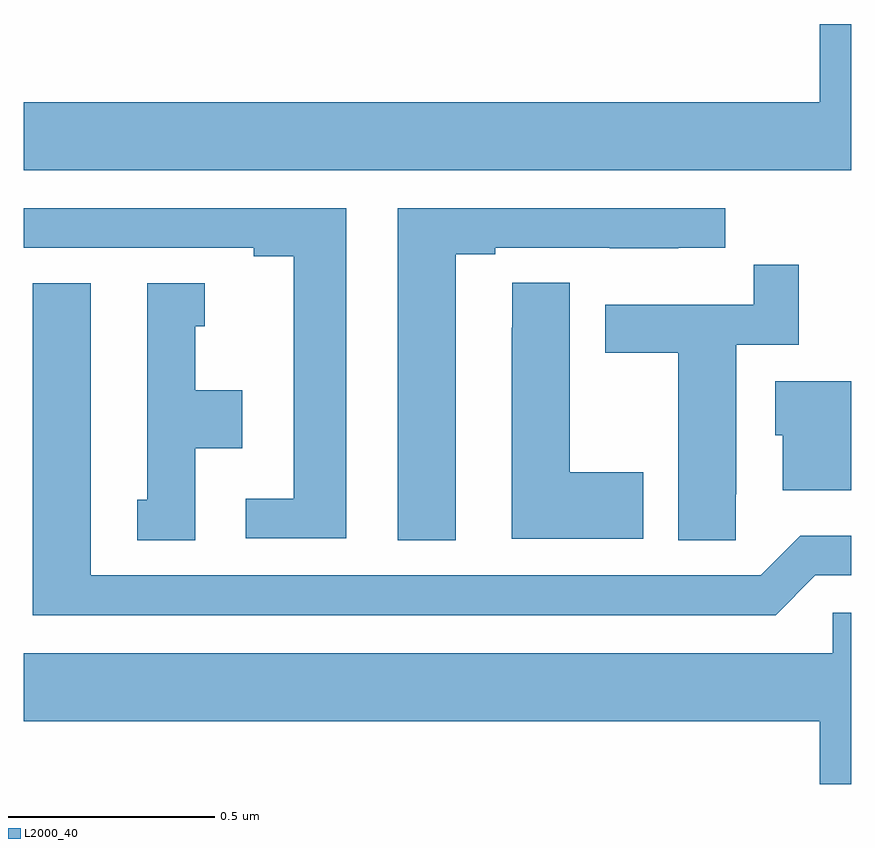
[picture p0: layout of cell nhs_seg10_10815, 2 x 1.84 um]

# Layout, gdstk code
import gdstk
lib = gdstk.Library(unit=1e-6, precision=1e-09)
def P(c, l, *ps):  # polygons
    for p in ps: c.add(gdstk.Polygon(p, *l))
L2000_40 = (2000, 40)

nhs_seg10_10815 = lib.new_cell('nhs_seg10_10815')
P(nhs_seg10_10815, L2000_40, [(249,1299.337),(248.924,1299.337),(248.924,1299.148),(247,1299.148),(247,1298.984),(249,1298.984)],
  [(248.044,1298.781),(248.14,1298.781),(248.14,1298.796),(248.416,1298.796),(248.416,1298.795),(248.582,1298.795),(248.582,1298.796),(248.695,1298.796),(248.695,1298.892),(247.904,1298.892),(247.904,1298.089),(248.044,1298.089)],
  [(247.78,1298.892),(247,1298.892),(247,1298.796),(247.556,1298.796),(247.556,1298.776),(247.652,1298.776),(247.652,1298.19),(247.536,1298.19),(247.536,1298.094),(247.78,1298.094)],
  [(248.721,1298.2),(248.722,1298.2),(248.722,1298.562),(248.873,1298.562),(248.873,1298.755),(248.764,1298.755),(248.764,1298.658),(248.405,1298.658),(248.405,1298.542),(248.582,1298.542),(248.582,1298.089),(248.721,1298.089)],
  [(248.497,1298.253),(248.32,1298.253),(248.32,1298.711),(248.181,1298.711),(248.181,1298.603),(248.18,1298.603),(248.18,1298.093),(248.497,1298.093)],
  [(247.414,1298.312),(247.528,1298.312),(247.528,1298.452),(247.414,1298.452),(247.414,1298.607),(247.438,1298.607),(247.438,1298.71),(247.298,1298.71),(247.298,1298.187),(247.274,1298.187),(247.274,1298.089),(247.414,1298.089)],
  [(248.913,1298.004),(249,1298.004),(249,1298.1),(248.877,1298.1),(248.781,1298.004),(247.162,1298.004),(247.162,1298.71),(247.022,1298.71),(247.022,1297.908),(248.817,1297.908)],
  [(249,1298.473),(248.816,1298.473),(248.816,1298.343),(248.834,1298.343),(248.834,1298.21),(249,1298.21)],
  [(249,1297.914),(248.955,1297.914),(248.955,1297.816),(247,1297.816),(247,1297.652),(248.924,1297.652),(248.924,1297.5),(249,1297.5)])

lib.write_gds('nhs_seg10_10815.gds')
